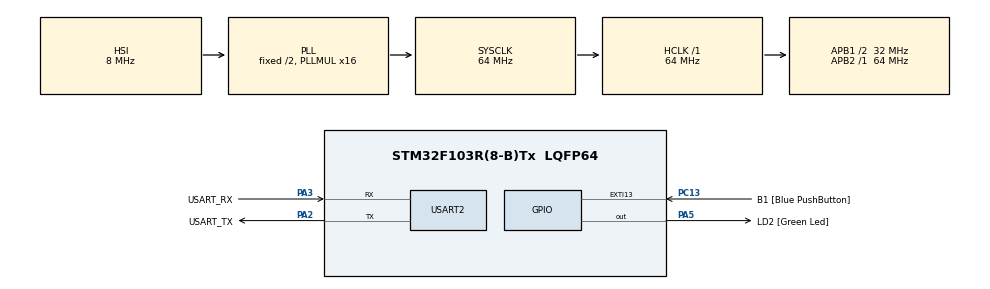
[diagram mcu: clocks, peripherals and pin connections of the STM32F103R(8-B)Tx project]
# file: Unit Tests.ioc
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Mcu.Family=STM32F1
Mcu.Name=STM32F103R(8-B)Tx
Mcu.Package=LQFP64
NVIC.EXTI15_10_IRQn=true\:0\:0\:false\:false\:true\:true\:true
NVIC.PriorityGroup=NVIC_PRIORITYGROUP_4
PA13.GPIO_Label=TMS
PA13.Mode=Serial_Wire
PA13.Signal=SYS_JTMS-SWDIO
PA14.GPIO_Label=TCK
PA14.Mode=Serial_Wire
PA14.Signal=SYS_JTCK-SWCLK
PA2.GPIO_Label=USART_TX
PA2.GPIO_Mode=GPIO_MODE_AF_PP
PA2.GPIO_PuPd=GPIO_NOPULL
PA2.GPIO_Speed=GPIO_SPEED_FREQ_LOW
PA2.Mode=Asynchronous
PA2.Signal=USART2_TX
PA3.GPIO_Label=USART_RX
PA3.GPIO_Mode=GPIO_MODE_AF_PP
PA3.GPIO_PuPd=GPIO_NOPULL
PA3.GPIO_Speed=GPIO_SPEED_FREQ_LOW
PA3.Mode=Asynchronous
PA3.Signal=USART2_RX
PA5.GPIO_Label=LD2 [Green Led]
PA5.GPIO_ModeDefaultOutputPP=GPIO_MODE_OUTPUT_PP
PA5.GPIO_PuPd=GPIO_NOPULL
PA5.GPIO_Speed=GPIO_SPEED_FREQ_LOW
PA5.Signal=GPIO_Output
PB3.GPIO_Label=SWO
PB3.Signal=SYS_JTDO-TRACESWO
PC13-TAMPER-RTC.GPIO_Label=B1 [Blue PushButton]
PC13-TAMPER-RTC.GPIO_PuPd=GPIO_NOPULL
PC13-TAMPER-RTC.Signal=GPXTI13
PC14-OSC32_IN.Mode=LSE-External-Oscillator
PC14-OSC32_IN.Signal=RCC_OSC32_IN
PC15-OSC32_OUT.Mode=LSE-External-Oscillator
PC15-OSC32_OUT.Signal=RCC_OSC32_OUT
PD0-OSC_IN.Mode=HSE-External-Clock-Source
PD0-OSC_IN.Signal=RCC_OSC_IN
PD1-OSC_OUT.Mode=HSE-External-Clock-Source
PD1-OSC_OUT.Signal=RCC_OSC_OUT
ProjectManager.HeapSize=0x200
ProjectManager.StackSize=0x400
ProjectManager.TargetToolchain=STM32CubeIDE
RCC.AHBFreq_Value=64000000
RCC.APB1CLKDivider=RCC_HCLK_DIV2
RCC.APB1Freq_Value=32000000
RCC.APB1TimFreq_Value=64000000
RCC.APB2Freq_Value=64000000
RCC.APB2TimFreq_Value=64000000
RCC.HCLKFreq_Value=64000000
RCC.PLLMUL=RCC_PLL_MUL16
RCC.RTCClockSelection=RCC_RTCCLKSOURCE_LSE
RCC.SYSCLKFreq_VALUE=64000000
RCC.SYSCLKSource=RCC_SYSCLKSOURCE_PLLCLK
RCC.USBFreq_Value=64000000
USART2.VirtualMode=VM_ASYNC
board=NUCLEO-F103RB

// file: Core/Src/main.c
/* USER CODE BEGIN Header */
/**
 ******************************************************************************
 * @file           : main.c
 * @brief          : Main program body
 ******************************************************************************
 * @attention
 *
 * Copyright (c) 2022 STMicroelectronics.
 * All rights reserved.
 *
 * This software is licensed under terms that can be found in the LICENSE file
 * in the root directory of this software component.
 * If no LICENSE file comes with this software, it is provided AS-IS.
 *
 ******************************************************************************
 */
/* USER CODE END Header */
#include "main.h"

/* USER CODE BEGIN Includes */
#include "testFramework.h"
#include "stdio.h"
#include "math.h"
#include "string.h"
#include "stdlib.h"
/* USER CODE END Includes */

UART_HandleTypeDef huart2;

/* USER CODE BEGIN PV */
uint8_t myMSG[100] = { '\0' };
uint8_t result[10];
uint8_t passed[6] = { 'P', 'A', 'S', 'S', 'E', 'D' };
uint8_t failed[6] = { 'F', 'A', 'I', 'L', 'E', 'D' };
/* USER CODE END PV */

void SystemClock_Config(void);
static void MX_GPIO_Init(void);
static void MX_USART2_UART_Init(void);
/* USER CODE BEGIN PFP */
int32_t getMax(int32_t term1, int32_t term2) {
	if (term1 > term2)
		return term1;
	else
		return term2;
}

void myPrint(char *pData) {
	uint8_t MSG[255] = { '\0' };
	sprintf((char*) MSG, (char*) pData);
	HAL_UART_Transmit(&huart2, MSG, sizeof(MSG), 0xFFFF);
}

void uprints(char *pData) {
	HAL_UART_Transmit(&huart2, (uint8_t*) pData, strlen(pData), 0xF);
}

char* i32toStringDec(int32_t number) {
	char *number_string;
	int no_of_digits, prev = 0, i, j;

	for (i = 10, no_of_digits = 0;; i *= 10, no_of_digits++) {
		if ((int) number / i == 0) {
			break;
		}
	}
	no_of_digits++;

	number_string = (char*) malloc(no_of_digits + 1); // +1 for NULL
	for (i = 0, j = pow(10, no_of_digits - 1); i < no_of_digits; i++, j /= 10) {
		number_string[i] = (number / j - (prev * 10)) + 48;  // int to ascii
		prev = number / j;
	}
	number_string[i] = '\0';

	return number_string;
}

char* i32toStringHex(int32_t number) {
	char number_string[10];
	int prev = 0, i, j;
	uint32_t zweier;
	zweier = (uint32_t) number;
	///TODO Negative Berechnung

	//number_string = (char*) malloc(10);
	number_string[0] = '0';
	number_string[1] = 'x';
	for (i = 2, j = pow(16, 8 - 1); i < 10; i++, j /= 16) {
		if ((number_string[i] = zweier / j - (prev * 16)) < 0xA) {
			number_string[i] += 48; // int to ascii
		} else {
			number_string[i] += 55;
		}
		prev = zweier / j;
	}
	number_string[i] = '\0';

	return number_string;
}

void showContent(uint32_t addresse) {
	char *number_string;
	int prev = 0, i, j;

	//if (number < 0) number = 0xFFFFFFFF - number + 1;
	///TODO Negative Berechnung

	number_string = (char*) malloc(10);
	number_string[0] = '0';
	number_string[1] = 'x';
	for (i = 2, j = pow(16, 8 - 1); i < 10; i++, j /= 16) {
		if ((addresse / j - (prev * 16)) < 0xA) {
			number_string[i] = (addresse / j - (prev * 16)) + 48; // int to ascii
		} else {
			number_string[i] = (addresse / j - (prev * 16)) + 55;
		}
		prev = addresse / j;
	}
	number_string[i] = '\0';

	uprints(number_string);
}

char ugetc() {
	char in='\0';
	if (HAL_UART_Receive(&huart2, (uint8_t*) &in, 1, 10) == HAL_OK)
		return in;
	else
		return '\0';
}

/* USER CODE END PFP */

int main(void) {
	/* USER CODE BEGIN 1 */
	//int32_t a=-1, b=2, c=-3, d=5;
	char eingabe[1]={'\0'};
	result[0] = UNITTEST_ASSERT_EQUAL_UINT32(2, getMax(0, 2));
	result[1] = UNITTEST_ASSERT_EQUAL_UINT32(100, getMax(100, 25));
	result[2] = UNITTEST_ASSERT_EQUAL_UINT32(32, getMax(12, 32));
	result[3] = UNITTEST_ASSERT_EQUAL_UINT32(5, getMax(1, 5));
	result[4] = UNITTEST_ASSERT_EQUAL_UINT32(-424, getMax(-424, -1201));
	result[5] = UNITTEST_ASSERT_EQUAL_UINT32(-124, getMax(-124, -54564));
	result[6] = UNITTEST_ASSERT_EQUAL_UINT32(-45, getMax(-4561, -45));
	result[7] = UNITTEST_ASSERT_EQUAL_UINT32(456, getMax(456, -8757));
	result[8] = UNITTEST_ASSERT_EQUAL_UINT32(246345, getMax(-754, 246345));
	result[9] = UNITTEST_ASSERT_EQUAL_UINT32(456, getMax(456, -245));
	/* USER CODE END 1 */

	/* MCU Configuration--------------------------------------------------------*/

	/* Reset of all peripherals, Initializes the Flash interface and the Systick. */
	HAL_Init();

	/* Configure the system clock */
	SystemClock_Config();

	/* Initialize all configured peripherals */
	MX_GPIO_Init();
	MX_USART2_UART_Init();

	/* Infinite loop */
	while (1) {
		eingabe[0] = ugetc();
		uprints(eingabe);
		//HAL_Delay(10);
		/*for (int32_t i = 0; i < sizeof(result); i++) {
		 uprints("Test ");
		 uprints(i32toStringHex(i * -10));
		 uprints(":\t");
		 uprints(i32toStringHex(i * +10));
		 uprints(":\t");
		 //showContent(&i);
		 uprints(":\t");
		 if (result[i]) {
		 uprints("PASSED");
		 } else {
		 uprints("FAILED");
		 }
		 uprints("\n");
		 }
		 uprints("\n");
		 uprints("\n");

		 HAL_Delay(500);*/

		/*
		 myPrint(huart2, "Max von a und c:");
		 myPrint(huart2, DtoZkette(getMax(a, c)));
		 HAL_Delay(1000);
		 myPrint(huart2, "\n");

		 myPrint(huart2, "Max von b und d:");
		 myPrint(huart2, DtoZkette(getMax(b, d)));
		 HAL_Delay(1000);
		 myPrint(huart2, "\n");

		 myPrint(huart2, "Max von c und d:");
		 myPrint(huart2, DtoZkette(getMax(c, d)));
		 HAL_Delay(1000);
		 myPrint(huart2, "\n");
		 myPrint(huart2, "\n");
		 myPrint(huart2, "\n");*/
	}
}

void SystemClock_Config(void) {
	RCC_OscInitTypeDef RCC_OscInitStruct = { 0 };
	RCC_ClkInitTypeDef RCC_ClkInitStruct = { 0 };

	/** Initializes the RCC Oscillators according to the specified parameters
	 * in the RCC_OscInitTypeDef structure.
	 */
	RCC_OscInitStruct.OscillatorType = RCC_OSCILLATORTYPE_HSI;
	RCC_OscInitStruct.HSIState = RCC_HSI_ON;
	RCC_OscInitStruct.HSICalibrationValue = RCC_HSICALIBRATION_DEFAULT;
	RCC_OscInitStruct.PLL.PLLState = RCC_PLL_ON;
	RCC_OscInitStruct.PLL.PLLSource = RCC_PLLSOURCE_HSI_DIV2;
	RCC_OscInitStruct.PLL.PLLMUL = RCC_PLL_MUL16;
	if (HAL_RCC_OscConfig(&RCC_OscInitStruct) != HAL_OK) {
		Error_Handler();
	}
	/** Initializes the CPU, AHB and APB buses clocks
	 */
	RCC_ClkInitStruct.ClockType = RCC_CLOCKTYPE_HCLK | RCC_CLOCKTYPE_SYSCLK
			| RCC_CLOCKTYPE_PCLK1 | RCC_CLOCKTYPE_PCLK2;
	RCC_ClkInitStruct.SYSCLKSource = RCC_SYSCLKSOURCE_PLLCLK;
	RCC_ClkInitStruct.AHBCLKDivider = RCC_SYSCLK_DIV1;
	RCC_ClkInitStruct.APB1CLKDivider = RCC_HCLK_DIV2;
	RCC_ClkInitStruct.APB2CLKDivider = RCC_HCLK_DIV1;

	if (HAL_RCC_ClockConfig(&RCC_ClkInitStruct, FLASH_LATENCY_2) != HAL_OK) {
		Error_Handler();
	}
}

static void MX_USART2_UART_Init(void) {

	huart2.Instance = USART2;
	huart2.Init.BaudRate = 115200;
	huart2.Init.WordLength = UART_WORDLENGTH_8B;
	huart2.Init.StopBits = UART_STOPBITS_1;
	huart2.Init.Parity = UART_PARITY_NONE;
	huart2.Init.Mode = UART_MODE_TX_RX;
	huart2.Init.HwFlowCtl = UART_HWCONTROL_NONE;
	huart2.Init.OverSampling = UART_OVERSAMPLING_16;
	if (HAL_UART_Init(&huart2) != HAL_OK) {
		Error_Handler();
	}

}

static void MX_GPIO_Init(void) {
	GPIO_InitTypeDef GPIO_InitStruct = { 0 };

	/* GPIO Ports Clock Enable */
	__HAL_RCC_GPIOC_CLK_ENABLE();
	__HAL_RCC_GPIOD_CLK_ENABLE();
	__HAL_RCC_GPIOA_CLK_ENABLE();
	__HAL_RCC_GPIOB_CLK_ENABLE();

	/*Configure GPIO pin Output Level */
	HAL_GPIO_WritePin(LD2_GPIO_Port, LD2_Pin, GPIO_PIN_RESET);

	/*Configure GPIO pin : B1_Pin */
	GPIO_InitStruct.Pin = B1_Pin;
	GPIO_InitStruct.Mode = GPIO_MODE_IT_RISING;
	GPIO_InitStruct.Pull = GPIO_NOPULL;
	HAL_GPIO_Init(B1_GPIO_Port, &GPIO_InitStruct);

	/*Configure GPIO pin : LD2_Pin */
	GPIO_InitStruct.Pin = LD2_Pin;
	GPIO_InitStruct.Mode = GPIO_MODE_OUTPUT_PP;
	GPIO_InitStruct.Pull = GPIO_NOPULL;
	GPIO_InitStruct.Speed = GPIO_SPEED_FREQ_LOW;
	HAL_GPIO_Init(LD2_GPIO_Port, &GPIO_InitStruct);

	/* EXTI interrupt init*/
	HAL_NVIC_SetPriority(EXTI15_10_IRQn, 0, 0);
	HAL_NVIC_EnableIRQ(EXTI15_10_IRQn);

}

void Error_Handler(void) {
	__disable_irq();
	while (1) {
	}
}
